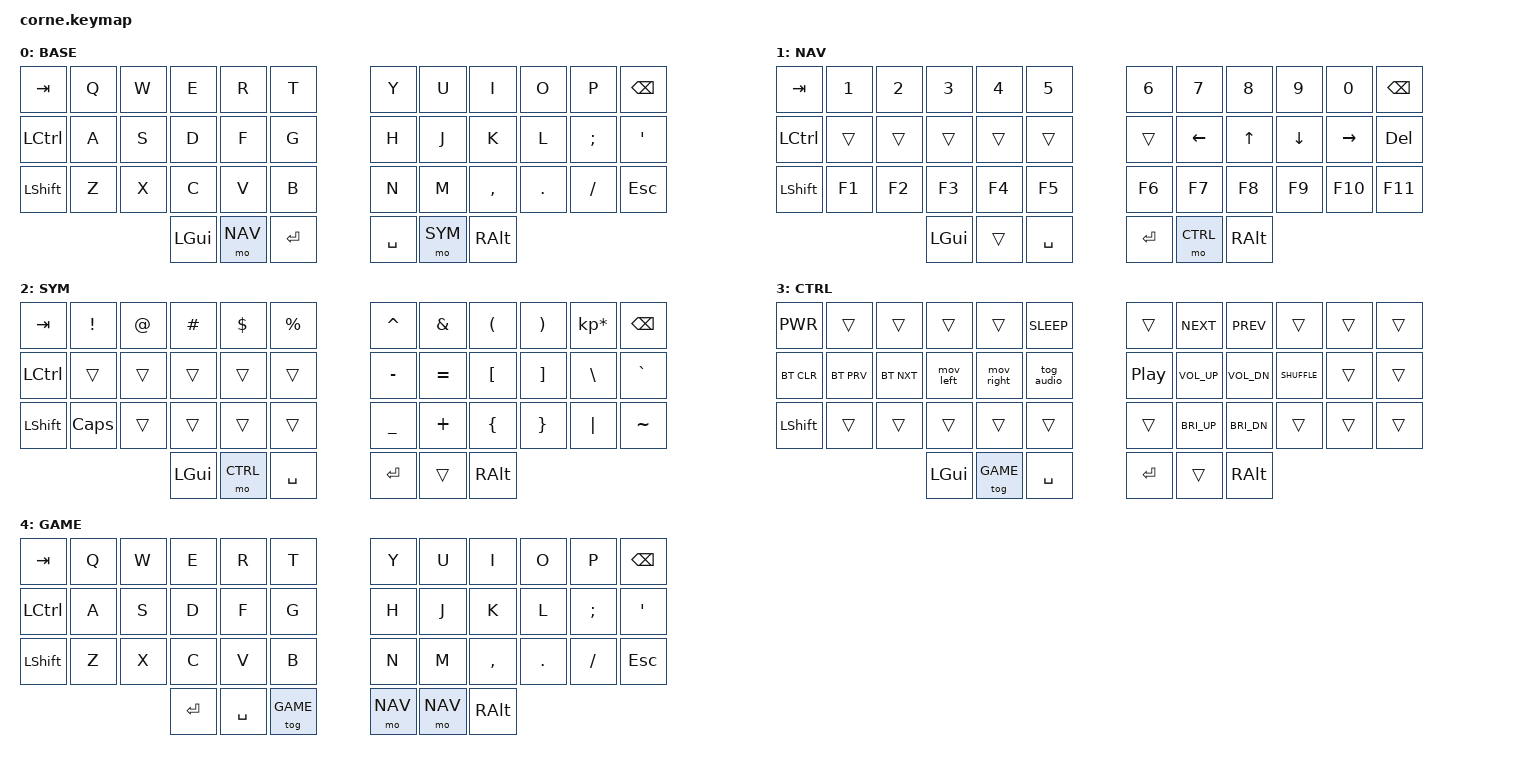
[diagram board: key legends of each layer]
/*
 * Copyright (c) 2020 The ZMK Contributors
 *
 * SPDX-License-Identifier: MIT
 */

// Keymap Author: Vespertine112 [https://github.com/Vespertine112]

#include <behaviors.dtsi>
#include <dt-bindings/zmk/keys.h>
#include <dt-bindings/zmk/bt.h>

/*
 * define the layer schema
 */
#define BASE 0
#define NAV 1
#define SYM 2
#define CTRL 3
#define GAME 4

/*
 * Keymap & macros
 */
 
/ {
        macros {
                mov_right: mov_right {
                label = "mov_right";
                compatible = "zmk,behavior-macro";
                #binding-cells = <0>;
                bindings
                        = <&macro_press &kp LGUI>
                        , <&macro_press &kp LCTRL>
                        , <&macro_tap &kp RIGHT>
                        , <&macro_release &kp LCTRL>
                        , <&macro_release &kp LGUI>
                        ;
                };

                mov_left: mov_left {
                label = "mov_left";
                compatible = "zmk,behavior-macro";
                #binding-cells = <0>;
                bindings
                        = <&macro_press &kp LGUI>
                        , <&macro_press &kp LCTRL>
                        , <&macro_tap &kp LEFT>
                        , <&macro_release &kp LCTRL>
                        , <&macro_release &kp LGUI>
                        ;
                };

                tog_audio: tog_audio {
                label = "tog_audio";
                compatible = "zmk,behavior-macro";
                #binding-cells = <0>;
                bindings
                        = <&macro_press &kp LALT>
                        , <&macro_press &kp LCTRL>
                        , <&macro_tap &kp F11>
                        , <&macro_release &kp LCTRL>
                        , <&macro_release &kp LALT>
                        ;
                };
        };

        behaviors {
                ht_hp: positional_hold_tap {
                compatible = "zmk,behavior-hold-tap";
                label = "POSITIONAL_HOLD_TAP";
                label = "HOLD_TAP_HOLD_PRESS";
                #binding-cells = <2>;
                tapping_term_ms = <700>;
                quick_tap_ms = <0>;
                flavor = "tap-preferred";
                bindings = <&kp>, <&kp>;
                };
        };

        keymap {
                compatible = "zmk,keymap";

                default_layer {
// -----------------------------------------------------------------------------------------
// |  TAB |  Q  |  W  |  E  |  R  |  T  |   |  Y  |  U   |  I  |  O  |  P  | BKSP |
// | CTRL |  A  |  S  |  D  |  F  |  G  |   |  H  |  J   |  K  |  L  |  ;  |  '   |
// | SHFT |  Z  |  X  |  C  |  V  |  B  |   |  N  |  M   |  ,  |  .  |  /  | ESC  |
//                    | GUI | LWR | SPC |   | ENT | RSE  | ALT |
                        label = "BASE";
                        bindings = <
   &kp TAB   &kp Q &kp W &kp E &kp R &kp T   &kp Y &kp U  &kp I     &kp O   &kp P    &kp BSPC
   &kp LCTRL &kp A &kp S &kp D &kp F &kp G   &kp H &kp J  &kp K     &kp L   &kp SEMI &kp SQT
   &kp LSHFT &kp Z &kp X &kp C &kp V &kp B   &kp N &kp M  &kp COMMA &kp DOT &kp FSLH &kp ESC
                  &kp LGUI &mo NAV &kp RET     &kp SPACE &mo SYM &kp RALT
                        >;
                };

                nav_layer {
// -----------------------------------------------------------------------------------------
// |  TAB | 1 F1| 2 F2| 3 F3| 4 F4| 5 F5|   | 6 F6| 7 F7| 8 F8| 9 F9| 0 F0| BKSP |
// | CTRL |     |     |     |     |  F4 |   |     | LEFT| UP  | DWN |RIGHT|  DEL |
// | SHFT |     |     |     |     |     |   |     |     |     |     |     |      |
//                    | GUI |     | SPC |   | ENT | CTRL| ALT |
                        label = "NAV";
                        bindings = <
   &kp TAB  &kp N1 &kp N2  &kp N3 &kp N4 &kp N5     &kp N6 &kp N7 &kp N8 &kp N9 &kp N0 &kp BSPC
   &kp LCTRL &trans &trans &trans &trans &trans     &trans &kp LEFT &kp UP &kp DOWN &kp RIGHT &kp DEL
   &kp LSHFT &kp F1 &kp F2 &kp F3 &kp F4 &kp F5       &kp F6 &kp F7 &kp F8 &kp F9 &kp F10 &kp F11
                  &kp LGUI &trans &kp SPC           &kp RET &mo CTRL &kp RALT
                        >;
                };

                sym_layer {
// -----------------------------------------------------------------------------------------
// |  TAB |  !  |  @  |  #  |  $  |  %  |   |  ^  |  &  |  *  |  (  |  )  | BKSP |
// | CTRL |     |     |     |     |     |   |  -  |  =  |  [  |  ]  |  \  |  `   |
// | SHFT |     |     |     |     |     |   |  _  |  +  |  {  |  }  | "|" |  ~   |
//                    | GUI |     | SPC |   | ENT |     | ALT |
                        label = "SYM";
                        bindings = <
   &kp  TAB  &kp EXCL &kp AT &kp HASH &kp DLLR &kp PRCNT   &kp CARET &kp AMPS  &kp LPAR &kp RPAR &kp KP_MULTIPLY &kp BSPC
   &kp LCTRL &trans   &trans &trans   &trans   &trans      &kp MINUS &kp EQUAL &kp LBKT        &kp RBKT &kp BSLH &kp GRAVE
   &kp LSHFT &kp CAPS &trans &trans   &trans   &trans      &kp UNDER &kp PLUS  &kp LBRC        &kp RBRC &kp PIPE &kp TILDE
                    	     &kp LGUI &mo CTRL  &kp SPACE     &kp RET   &trans    &kp RALT
                        >;
                };

                ctrl_layer {
// -----------------------------------------------------------------------------------------
// | PWR  |     |     |     |     | SLP |   |     | NXT | PRV |     |     |      |
// |BT_CLR| BTB | BTN | mvLT| mvRT|     |   |  PP |VOLU |VOLD |     |     |      |
// | SHFT |     |     |     |     |     |   |     |BRIU |BRID |     |     |      |
//                    | GUI |     | SPC |   | ENT |     | ALT |
                        label = "CTRL";
                        bindings = <
   &kp C_PWR &trans &trans &trans &trans &kp C_SLEEP                        &trans &kp C_NEXT &kp C_PREV &trans &trans &trans
   &bt BT_CLR &bt BT_PRV &bt BT_NXT &mov_left &mov_right &tog_audio         &kp C_PP  &kp C_VOL_UP &kp C_VOL_DN &kp C_SHUFFLE &trans &trans
   &kp LSHFT &trans   &trans &trans   &trans   &trans                       &trans &kp C_BRI_UP &kp C_BRI_DN &trans &trans &trans
                    	     &kp LGUI &tog GAME  &kp SPACE     &kp RET   &trans    &kp RALT
                        >;
                };

                game_layer {
// -----------------------------------------------------------------------------------------
// |  TAB |  Q  |  W  |  E  |  R  |  T  |   |  Y  |  U   |  I  |  O  |  P  | BKSP |
// | CTRL |  A  |  S  |  D  |  F  |  G  |   |  H  |  J   |  K  |  L  |  ;  |  '   |
// | SHFT |  Z  |  X  |  C  |  V  |  B  |   |  N  |  M   |  ,  |  .  |  /  | ESC  |
//                    | RET | SPC | TG4 |   | MO2 | MO2  | ALT |
                        label = "GAME";
                        bindings = <
   &kp TAB   &kp Q &kp W &kp E &kp R &kp T   &kp Y &kp U  &kp I     &kp O   &kp P    &kp BSPC
   &kp LCTRL &kp A &kp S &kp D &kp F &kp G   &kp H &kp J  &kp K     &kp L   &kp SEMI &kp SQT
   &kp LSHFT &kp Z &kp X &kp C &kp V &kp B   &kp N &kp M  &kp COMMA &kp DOT &kp FSLH &kp ESC
                  &kp RET &kp SPC &tog GAME  &mo NAV &mo NAV &kp RALT
                        >;
                };
        };
};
